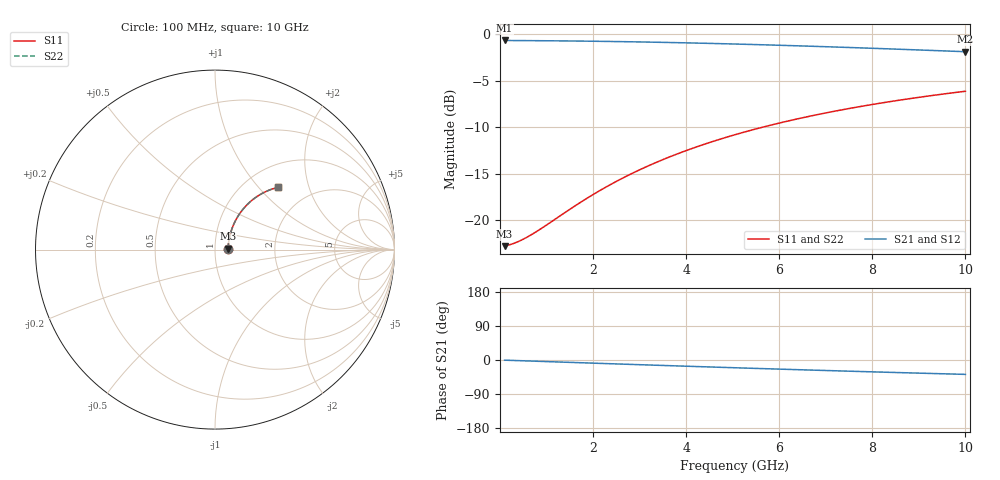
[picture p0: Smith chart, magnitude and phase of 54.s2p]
# Hz S RI R 50.00
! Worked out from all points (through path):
!   100 points, 100 MHz to 10 GHz, reference 50 ohm
!   highest |S21| = -0.65 dB at 100 MHz (marker M1); lowest = -1.9 dB at 10 GHz (marker M2)
!   group delay of S21, straight-line fit = 10.6 ps
!   lowest |S11| = -22.8 dB at 100 MHz (marker M3), VSWR 1.16, Z = 57.8 + j0.615 ohm
!   |S11| at or under -10 dB: start of sweep to 5.644 GHz
!   |S22| runs from -22.8 to -6.1 dB; largest |S21 - S12| = 0
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1e8  0.072 0.00529  0.928 -0.00676  0.928 -0.00676  0.072 0.00529
3e8  0.0731 0.0158  0.9269 -0.0203  0.9269 -0.0203  0.0731 0.0158
4e8  0.0736 0.0211  0.9264 -0.027  0.9264 -0.027  0.0736 0.0211
6e8  0.0748 0.0316  0.9252 -0.0404  0.9252 -0.0404  0.0748 0.0316
9e8  0.077 0.0472  0.9229 -0.0605  0.9229 -0.0605  0.077 0.0472
1.5e9  0.0831 0.0781  0.9166 -0.1001  0.9166 -0.1001  0.0831 0.0781
1.8e9  0.0871 0.0932  0.9125 -0.1197  0.9125 -0.1197  0.0871 0.0932
2.2e9  0.0934 0.113  0.906 -0.1454  0.906 -0.1454  0.0934 0.113
2.6e9  0.1007 0.1323  0.8985 -0.1706  0.8985 -0.1706  0.1007 0.1323
3e9  0.109 0.151  0.8899 -0.1952  0.8899 -0.1952  0.109 0.151
3.4e9  0.1183 0.1691  0.8804 -0.2192  0.8804 -0.2192  0.1183 0.1691
3.8e9  0.1285 0.1865  0.8699 -0.2425  0.8699 -0.2425  0.1285 0.1865
4.2e9  0.1395 0.2031  0.8585 -0.2651  0.8585 -0.2651  0.1395 0.2031
4.6e9  0.1513 0.219  0.8463 -0.2868  0.8463 -0.2868  0.1513 0.219
5.1e9  0.167 0.2376  0.83 -0.3129  0.83 -0.3129  0.167 0.2376
5.5e9  0.1802 0.2516  0.8163 -0.3328  0.8163 -0.3328  0.1802 0.2516
5.9e9  0.1941 0.2646  0.8019 -0.3518  0.8019 -0.3518  0.1941 0.2646
6.7e9  0.2231 0.288  0.7718 -0.3872  0.7718 -0.3872  0.2231 0.288
7.5e9  0.2534 0.3077  0.7401 -0.4189  0.7401 -0.4189  0.2534 0.3077
8.4e9  0.2885 0.3256  0.7033 -0.4504  0.7033 -0.4504  0.2885 0.3256
9.2e9  0.3201 0.3379  0.67 -0.4748  0.67 -0.4748  0.3201 0.3379
1e10  0.3517 0.3468  0.6367 -0.496  0.6367 -0.496  0.3517 0.3468
